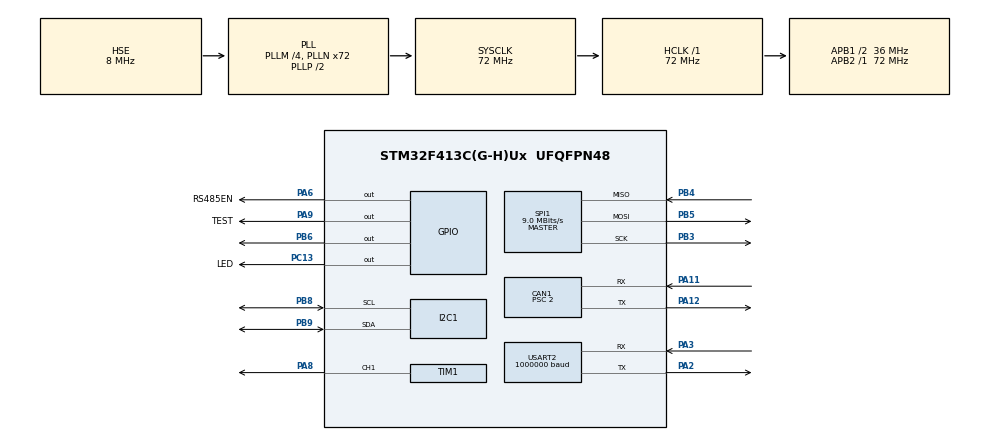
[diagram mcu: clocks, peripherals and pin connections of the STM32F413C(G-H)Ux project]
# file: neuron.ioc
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Mcu.Family=STM32F4
NVIC.CAN1_RX1_IRQn=true\:6\:0\:true\:true\:true\:1\:false\:true\:true
CAN1.NART=ENABLE
RCC.CortexFreq_Value=72000000
FREERTOS.BinarySemaphores01=coreTaskSem,Dynamic,NULL;canTxSem,Dynamic,NULL
SPI1.VirtualType=VM_MASTER
PA11.Mode=Master
PA6.GPIO_Label=RS485EN
TIM1.Pulse-PWM\ Generation1\ CH1=18000
PC13.GPIO_Label=LED
RCC.SYSCLKSource=RCC_SYSCLKSOURCE_PLLCLK
ProjectManager.StackSize=0x400
PA12.Signal=CAN1_TX
TIM1.Prescaler=2-1
PH0\ -\ OSC_IN.Signal=RCC_OSC_IN
Dma.USART2_RX.0.Priority=DMA_PRIORITY_VERY_HIGH
SPI1.Direction=SPI_DIRECTION_2LINES
Dma.USART2_RX.0.PeriphDataAlignment=DMA_PDATAALIGN_BYTE
RCC.HCLKFreq_Value=72000000
RCC.APB2TimFreq_Value=72000000
PB6.Signal=GPIO_Output
SPI1.CalculateBaudRate=9.0 MBits/s
RCC.AHBFreq_Value=72000000
NVIC.TIM1_TRG_COM_TIM11_IRQn=true\:0\:0\:false\:false\:true\:false\:false\:true
RCC.HSE_VALUE=8000000
FREERTOS.configUSE_TIMERS=1
PB3.Mode=Full_Duplex_Master
PB4.Mode=Full_Duplex_Master
Dma.USART2_RX.0.MemDataAlignment=DMA_MDATAALIGN_BYTE
TIM1.Channel-PWM\ Generation1\ CH1=TIM_CHANNEL_1
PA14.Mode=Serial_Wire
PB5.Mode=Full_Duplex_Master
Dma.USART2_RX.0.Instance=DMA1_Stream5
PA8.Signal=S_TIM1_CH1
VP_FREERTOS_VS_CMSIS_V1.Mode=CMSIS_V1
FREERTOS.configTIMER_TASK_PRIORITY=6
VP_TIM1_VS_ClockSourceINT.Mode=Internal
CAN1.Prescaler=2
Mcu.Package=UFQFPN48
PB9.Signal=I2C1_SDA
PA6.Signal=GPIO_Output
NVIC.TimeBase=TIM1_TRG_COM_TIM11_IRQn
Dma.USART2_RX.0.PeriphInc=DMA_PINC_DISABLE
USART2.VirtualMode=VM_ASYNC
Dma.USART2_RX.0.FIFOMode=DMA_FIFOMODE_DISABLE
NVIC.TimeBaseIP=TIM11
RCC.APB1TimFreq_Value=72000000
TIM1.Period=36000-1
Dma.Request0=USART2_RX
SPI1.BaudRatePrescaler=SPI_BAUDRATEPRESCALER_8
PB4.Signal=SPI1_MISO
PA3.Signal=USART2_RX
CAN1.CalculateTimeQuantum=55.55555555555556
RCC.PLLSourceVirtual=RCC_PLLSOURCE_HSE
FREERTOS.Tasks01=idleTask,-3,128,idleTaskCallback,As weak,NULL,Dynamic,NULL,NULL;coreTask,3,256,coreTaskCallback,As weak,NULL,Dynamic,NULL,NULL;canRxTask,3,256,canRxCallback,As weak,NULL,Dynamic,NULL,NULL;canTxTask,1,128,canTxCallback,As weak,NULL,Dynamic,NULL,NULL;servoTask,0,512,servoTaskCallback,As weak,NULL,Dynamic,NULL,NULL
TIM1.CounterMode=TIM_COUNTERMODE_CENTERALIGNED1
PC13.Signal=GPIO_Output
PA9.GPIO_Label=TEST
PH1\ -\ OSC_OUT.Mode=HSE-External-Oscillator
Dma.USART2_RX.0.Direction=DMA_PERIPH_TO_MEMORY
RCC.APB1CLKDivider=RCC_HCLK_DIV2
USART2.BaudRate=1000000
Dma.USART2_RX.0.Mode=DMA_CIRCULAR
PA13.Signal=SYS_JTMS-SWDIO
PA3.Mode=Asynchronous
PH0\ -\ OSC_IN.Mode=HSE-External-Oscillator
SH.S_TIM1_CH1.0=TIM1_CH1,PWM Generation1 CH1
CAN1.BS2=CAN_BS2_3TQ
CAN1.BS1=CAN_BS1_14TQ
ProjectManager.TargetToolchain=STM32CubeIDE
I2C1.I2C_Mode=I2C_Fast
PB9.Mode=I2C
PA9.Signal=GPIO_Output
RCC.USBFreq_Value=72000000
PH1\ -\ OSC_OUT.Signal=RCC_OSC_OUT
board=custom
RCC.VCOOutputFreq_Value=144000000
RCC.APB2Freq_Value=72000000
SPI1.Mode=SPI_MODE_MASTER
PA13.Mode=Serial_Wire
VP_SYS_VS_tim11.Mode=TIM11
Mcu.Name=STM32F413C(G-H)Ux
Dma.USART2_RX.0.MemInc=DMA_MINC_ENABLE
PA2.Signal=USART2_TX
PB3.Signal=SPI1_SCK
RCC.SYSCLKFreq_VALUE=72000000
PB5.Signal=SPI1_MOSI
PA12.Mode=Master
PA11.Signal=CAN1_RX
PA14.Signal=SYS_JTCK-SWCLK
ProjectManager.HeapSize=0x200
FREERTOS.Timers01=coreTimer,coreEvokeCallback,osTimerPeriodic,As weak,NULL,Dynamic,NULL
FREERTOS.Mutexes01=servoMutex,Dynamic,NULL
NVIC.PriorityGroup=NVIC_PRIORITYGROUP_4
RCC.PLLM=4
PB8.Mode=I2C
RCC.PLLN=72
PB8.Signal=I2C1_SCL
PA2.Mode=Asynchronous
RCC.APB1Freq_Value=36000000
TIM1.TIM_MasterSlaveMode=TIM_MASTERSLAVEMODE_DISABLE

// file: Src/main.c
/* USER CODE BEGIN Header */
/**
  ******************************************************************************
  * @file           : main.c
  * @brief          : Main program body
  ******************************************************************************
  * @attention
  *
  * <h2><center>&copy; Copyright (c) 2021 STMicroelectronics.
  * All rights reserved.</center></h2>
  *
  * This software component is licensed by ST under BSD 3-Clause license,
  * the "License"; You may not use this file except in compliance with the
  * License. You may obtain a copy of the License at:
  *                        opensource.org/licenses/BSD-3-Clause
  *
  ******************************************************************************
  */
/* USER CODE END Header */
#include "main.h"
#include "cmsis_os.h"
#include "can.h"
#include "dma.h"
#include "i2c.h"
#include "spi.h"
#include "tim.h"
#include "usart.h"
#include "gpio.h"

/* USER CODE BEGIN Includes */
#include "stdint.h"
#include "can_device_manager.h"
#include "imu_mpu9250.h"
#include "servo.h"
#include "motor.h"
#include "flashmemory.h"
#include "initializer.h"

/* USER CODE END Includes */

/* USER CODE BEGIN PV */
extern osSemaphoreId coreTaskSemHandle;
extern osSemaphoreId canTxSemHandle;
extern osMailQId canMsgMailHandle;
extern osMutexId servoMutexHandle;

bool start_process_flag_ = false;
bool receive_flag_ = false;
Motor motor_;
IMU imu_;
Servo servo_;

extern "C"
{
/* USER CODE END PV */

void SystemClock_Config(void);
void MX_FREERTOS_Init(void);
static void MX_NVIC_Init(void);
/* USER CODE BEGIN PFP */

/* void idleTaskCallback(void const * argument) */
/* { */
/*   for(;;) */
/*     { */
/*       osDelay(1000); */
/*       HAL_GPIO_TogglePin(GPIOC, GPIO_PIN_13); */
/*     } */
/* } */

void coreEvokeCallback(void const * argument)
{
  /*
    We need to create another indipendent task to run the core function (following coreTask).
    since block action in timer callback function is not allowed.
  */
  osSemaphoreRelease(coreTaskSemHandle);
}

void coreTaskCallback(void const * argument)
{
  for(;;)
  {
    // RTOS semephre
    osSemaphoreWait(coreTaskSemHandle, osWaitForever);

    if (!start_process_flag_) return;
    CANDeviceManager::tick(1);
    motor_.update();
    imu_.update();
  }
}

void canTxCallback(void const * argument)
{
  for(;;)
    {
      // RTOS semephre
      osSemaphoreWait(canTxSemHandle, osWaitForever);

      servo_.sendData();
      imu_.sendData();
    }
}

void servoTaskCallback(void const * argument)
{
  for(;;)
  {
    servo_.update();
    osDelay(1); // 1ms sleep is OK
  }
}

}

/* USER CODE END PFP */

/* USER CODE BEGIN 0 */

void CANDeviceManager::userReceiveMessagesCallback(uint8_t slave_id, uint8_t device_id, uint8_t message_id, uint32_t DLC, uint8_t* data)
{
  if (device_id == CAN::DEVICEID_SERVO && message_id == CAN::MESSAGEID_RECEIVE_SERVO_ANGLE) {
      osSemaphoreRelease(canTxSemHandle);
  }
}

/* USER CODE END 0 */

int main(void)
{

  /* MCU Configuration--------------------------------------------------------*/

  /* Reset of all peripherals, Initializes the Flash interface and the Systick. */
  HAL_Init();

  /* Configure the system clock */
  SystemClock_Config();

  /* Initialize all configured peripherals */
  MX_GPIO_Init();
  MX_DMA_Init();
  MX_USART2_UART_Init();
  MX_TIM1_Init();
  MX_CAN1_Init();
  MX_SPI1_Init();
  MX_I2C1_Init();

  /* Initialize interrupts */
  MX_NVIC_Init();
  /* USER CODE BEGIN 2 */
  Flashmemory::init(0x08160000, FLASH_SECTOR_15); //64th page
  uint16_t slave_id = 0;
  Flashmemory::addValue(&slave_id, 2);
  /* workaround to definitely read the value for salve_id from flashmemory, because some problem in RTOS system in init system (because of std::vector?) */
  int cnt = 10; // In fact, only need twice, 10 times is just in case.
  while(cnt > 0)
    {
      HAL_StatusTypeDef status = Flashmemory::read();
      if(status == HAL_OK) break;
      cnt --;
    }

  if (slave_id == 0 || slave_id > 14) {
    slave_id = 1;
    Flashmemory::erase();
    Flashmemory::write();
    return 0;
  }
  motor_ = Motor(slave_id);
  imu_ = IMU(slave_id);
  servo_ = Servo(slave_id);

  Initializer initializer(slave_id, servo_, imu_);
  motor_.init(&htim1);
  HAL_Delay(300); //wait servo init
  servo_.init(&huart2, &hi2c1, &servoMutexHandle);
  imu_.init(&hspi1);
  CANDeviceManager::init(&hcan1, slave_id, GPIOC, GPIO_PIN_13);
  CANDeviceManager::addDevice(&motor_);
  CANDeviceManager::addDevice(&imu_);
  CANDeviceManager::addDevice(&servo_);
  CANDeviceManager::addDevice(&initializer);
  CANDeviceManager::useRTOS(&canMsgMailHandle);

  start_process_flag_ = true;

  /* USER CODE END 2 */

  /* Call init function for freertos objects (in freertos.c) */
  MX_FREERTOS_Init();
  /* Start scheduler */
  osKernelStart();

  /* We should never get here as control is now taken by the scheduler */
  /* Infinite loop */
  while (1)
  {

  }
}

void SystemClock_Config(void)
{
  RCC_OscInitTypeDef RCC_OscInitStruct = {0};
  RCC_ClkInitTypeDef RCC_ClkInitStruct = {0};

  /** Configure the main internal regulator output voltage
  */
  __HAL_RCC_PWR_CLK_ENABLE();
  __HAL_PWR_VOLTAGESCALING_CONFIG(PWR_REGULATOR_VOLTAGE_SCALE1);
  /** Initializes the RCC Oscillators according to the specified parameters
  * in the RCC_OscInitTypeDef structure.
  */
  RCC_OscInitStruct.OscillatorType = RCC_OSCILLATORTYPE_HSE;
  RCC_OscInitStruct.HSEState = RCC_HSE_ON;
  RCC_OscInitStruct.PLL.PLLState = RCC_PLL_ON;
  RCC_OscInitStruct.PLL.PLLSource = RCC_PLLSOURCE_HSE;
  RCC_OscInitStruct.PLL.PLLM = 4;
  RCC_OscInitStruct.PLL.PLLN = 72;
  RCC_OscInitStruct.PLL.PLLP = RCC_PLLP_DIV2;
  RCC_OscInitStruct.PLL.PLLQ = 2;
  RCC_OscInitStruct.PLL.PLLR = 2;
  if (HAL_RCC_OscConfig(&RCC_OscInitStruct) != HAL_OK)
  {
    Error_Handler();
  }
  /** Initializes the CPU, AHB and APB buses clocks
  */
  RCC_ClkInitStruct.ClockType = RCC_CLOCKTYPE_HCLK|RCC_CLOCKTYPE_SYSCLK
                              |RCC_CLOCKTYPE_PCLK1|RCC_CLOCKTYPE_PCLK2;
  RCC_ClkInitStruct.SYSCLKSource = RCC_SYSCLKSOURCE_PLLCLK;
  RCC_ClkInitStruct.AHBCLKDivider = RCC_SYSCLK_DIV1;
  RCC_ClkInitStruct.APB1CLKDivider = RCC_HCLK_DIV2;
  RCC_ClkInitStruct.APB2CLKDivider = RCC_HCLK_DIV1;

  if (HAL_RCC_ClockConfig(&RCC_ClkInitStruct, FLASH_LATENCY_2) != HAL_OK)
  {
    Error_Handler();
  }
}

/**
  * @brief NVIC Configuration.
  * @retval None
  */
static void MX_NVIC_Init(void)
{
  /* CAN1_RX1_IRQn interrupt configuration */
  HAL_NVIC_SetPriority(CAN1_RX1_IRQn, 6, 0);
  HAL_NVIC_EnableIRQ(CAN1_RX1_IRQn);
}

void HAL_TIM_PeriodElapsedCallback(TIM_HandleTypeDef *htim)
{
  if (htim->Instance == TIM11) {
    HAL_IncTick();
  }
}

void Error_Handler(void)
{
}

/************************ (C) COPYRIGHT STMicroelectronics *****END OF FILE****/

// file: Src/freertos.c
/* USER CODE BEGIN Header */
/**
  ******************************************************************************
  * File Name          : freertos.c
  * Description        : Code for freertos applications
  ******************************************************************************
  * @attention
  *
  * <h2><center>&copy; Copyright (c) 2021 STMicroelectronics.
  * All rights reserved.</center></h2>
  *
  * This software component is licensed by ST under Ultimate Liberty license
  * SLA0044, the "License"; You may not use this file except in compliance with
  * the License. You may obtain a copy of the License at:
  *                             www.st.com/SLA0044
  *
  ******************************************************************************
  */
/* USER CODE END Header */

#include "FreeRTOS.h"
#include "task.h"
#include "main.h"
#include "cmsis_os.h"

/* USER CODE BEGIN PTD */
typedef struct // same type defined in can_device_manager.h which has C++ description thus cannot loaded in this C file
{
  CAN_RxHeaderTypeDef rx_header;
  uint8_t rx_data[8];
} can_msg;

/* USER CODE END PTD */

/* USER CODE BEGIN Variables */
osMailQId canMsgMailHandle;
/* USER CODE END Variables */
osThreadId idleTaskHandle;
osThreadId coreTaskHandle;
osThreadId canRxTaskHandle;
osThreadId canTxTaskHandle;
osThreadId servoTaskHandle;
osTimerId coreTimerHandle;
osMutexId servoMutexHandle;
osSemaphoreId coreTaskSemHandle;
osSemaphoreId canTxSemHandle;

void idleTaskCallback(void const * argument);
void coreTaskCallback(void const * argument);
void canRxCallback(void const * argument);
void canTxCallback(void const * argument);
void servoTaskCallback(void const * argument);
void coreEvokeCallback(void const * argument);

void MX_FREERTOS_Init(void); /* (MISRA C 2004 rule 8.1) */

/* GetIdleTaskMemory prototype (linked to static allocation support) */
void vApplicationGetIdleTaskMemory( StaticTask_t **ppxIdleTaskTCBBuffer, StackType_t **ppxIdleTaskStackBuffer, uint32_t *pulIdleTaskStackSize );

/* GetTimerTaskMemory prototype (linked to static allocation support) */
void vApplicationGetTimerTaskMemory( StaticTask_t **ppxTimerTaskTCBBuffer, StackType_t **ppxTimerTaskStackBuffer, uint32_t *pulTimerTaskStackSize );

/* USER CODE BEGIN GET_IDLE_TASK_MEMORY */
static StaticTask_t xIdleTaskTCBBuffer;
static StackType_t xIdleStack[configMINIMAL_STACK_SIZE];

void vApplicationGetIdleTaskMemory( StaticTask_t **ppxIdleTaskTCBBuffer, StackType_t **ppxIdleTaskStackBuffer, uint32_t *pulIdleTaskStackSize )
{
  *ppxIdleTaskTCBBuffer = &xIdleTaskTCBBuffer;
  *ppxIdleTaskStackBuffer = &xIdleStack[0];
  *pulIdleTaskStackSize = configMINIMAL_STACK_SIZE;
  /* place for user code */
}
/* USER CODE END GET_IDLE_TASK_MEMORY */

/* USER CODE BEGIN GET_TIMER_TASK_MEMORY */
static StaticTask_t xTimerTaskTCBBuffer;
static StackType_t xTimerStack[configTIMER_TASK_STACK_DEPTH];

void vApplicationGetTimerTaskMemory( StaticTask_t **ppxTimerTaskTCBBuffer, StackType_t **ppxTimerTaskStackBuffer, uint32_t *pulTimerTaskStackSize )
{
  *ppxTimerTaskTCBBuffer = &xTimerTaskTCBBuffer;
  *ppxTimerTaskStackBuffer = &xTimerStack[0];
  *pulTimerTaskStackSize = configTIMER_TASK_STACK_DEPTH;
  /* place for user code */
}
/* USER CODE END GET_TIMER_TASK_MEMORY */

void MX_FREERTOS_Init(void) {
  /* Create the mutex(es) */
  /* definition and creation of servoMutex */
  osMutexDef(servoMutex);
  servoMutexHandle = osMutexCreate(osMutex(servoMutex));

  /* Create the semaphores(s) */
  /* definition and creation of coreTaskSem */
  osSemaphoreDef(coreTaskSem);
  coreTaskSemHandle = osSemaphoreCreate(osSemaphore(coreTaskSem), 1);

  /* definition and creation of canTxSem */
  osSemaphoreDef(canTxSem);
  canTxSemHandle = osSemaphoreCreate(osSemaphore(canTxSem), 1);

  /* Create the timer(s) */
  /* definition and creation of coreTimer */
  osTimerDef(coreTimer, coreEvokeCallback);
  coreTimerHandle = osTimerCreate(osTimer(coreTimer), osTimerPeriodic, NULL);

  /* USER CODE BEGIN RTOS_TIMERS */
  /* start timers, add new ones, ... */
  osTimerStart(coreTimerHandle, 1); // 1 ms (1kHz)
  /* USER CODE END RTOS_TIMERS */

  /* USER CODE BEGIN RTOS_QUEUES */
  /* add queues, ... */
  /* add mail queue for CAN RX */
  osMailQDef(CanMail, 20, can_msg); // defualt: 20 (in case of initializer sendBoardConfig (4 servo: 1 + 4 x 3 = 13 packets))
  canMsgMailHandle = osMailCreate(osMailQ(CanMail), NULL);
  /* USER CODE END RTOS_QUEUES */

  /* Create the thread(s) */
  /* definition and creation of idleTask */
  osThreadDef(idleTask, idleTaskCallback, osPriorityIdle, 0, 128);
  idleTaskHandle = osThreadCreate(osThread(idleTask), NULL);

  /* definition and creation of coreTask */
  osThreadDef(coreTask, coreTaskCallback, osPriorityRealtime, 0, 256);
  coreTaskHandle = osThreadCreate(osThread(coreTask), NULL);

  /* definition and creation of canRxTask */
  osThreadDef(canRxTask, canRxCallback, osPriorityRealtime, 0, 256);
  canRxTaskHandle = osThreadCreate(osThread(canRxTask), NULL);

  /* definition and creation of canTxTask */
  osThreadDef(canTxTask, canTxCallback, osPriorityAboveNormal, 0, 128);
  canTxTaskHandle = osThreadCreate(osThread(canTxTask), NULL);

  /* definition and creation of servoTask */
  osThreadDef(servoTask, servoTaskCallback, osPriorityNormal, 0, 512);
  servoTaskHandle = osThreadCreate(osThread(servoTask), NULL);

}

__weak void idleTaskCallback(void const * argument)
{
  for(;;)
  {
    osDelay(1);
  }
}

__weak void coreTaskCallback(void const * argument)
{
  for(;;)
  {
    osDelay(1);
  }
}

__weak void canRxCallback(void const * argument)
{
  for(;;)
  {
    osDelay(1);
  }
}

__weak void canTxCallback(void const * argument)
{
  for(;;)
  {
    osDelay(1);
  }
}

__weak void servoTaskCallback(void const * argument)
{
  for(;;)
  {
    osDelay(1);
  }
}

/* coreEvokeCallback function */
__weak void coreEvokeCallback(void const * argument)
{
}

/************************ (C) COPYRIGHT STMicroelectronics *****END OF FILE****/
